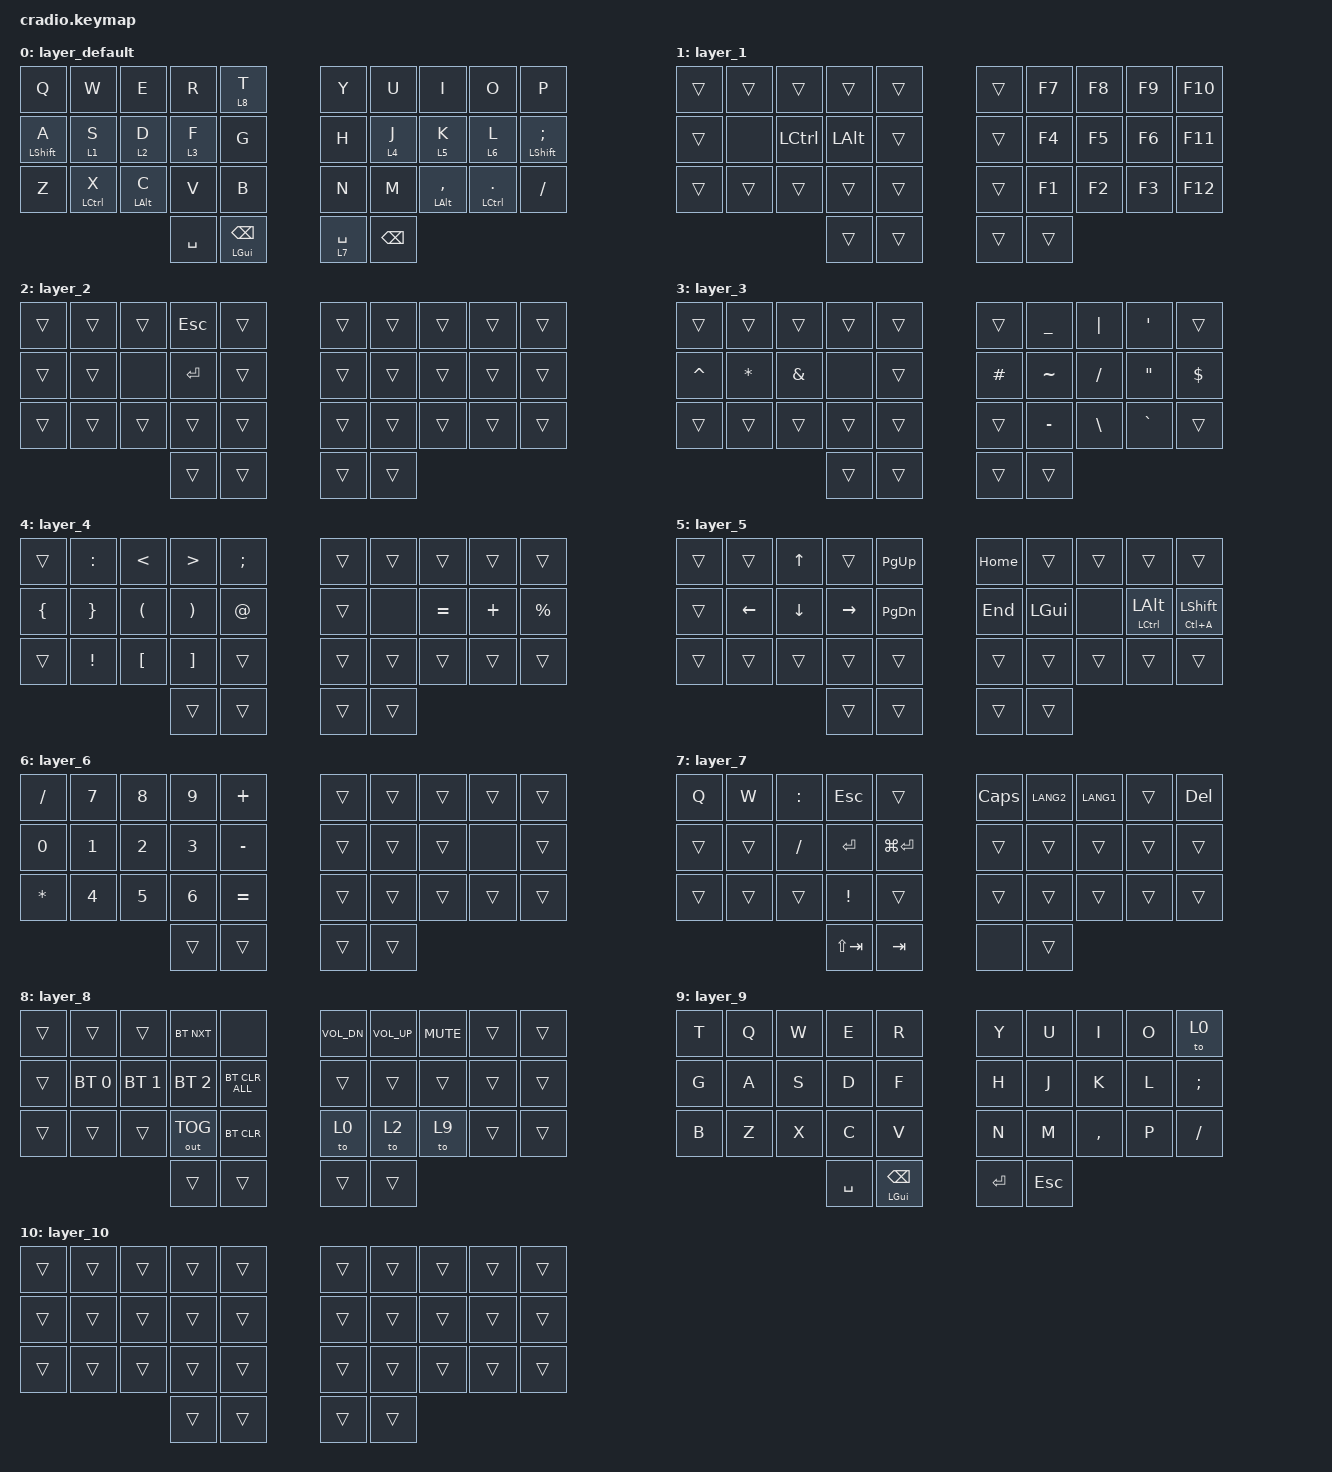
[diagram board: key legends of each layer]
/*
 * Copyright (c) 2020 The ZMK Contributors
 *
 * SPDX-License-Identifier: MIT
 */

#include <behaviors.dtsi>
#include <dt-bindings/zmk/bt.h>
#include <dt-bindings/zmk/keys.h>
#include <dt-bindings/zmk/outputs.h>

&mt { tapping-term-ms = <200>; };

/ {
    keymap {
        compatible = "zmk,keymap";

        layer_default {
            bindings = <
&kp Q        &kp W        &kp E       &kp R      &lt 8 T          &kp Y        &kp U     &kp I           &kp O          &kp P
&mt LSHFT A  &lt 1 S      &lt 2 D     &lt 3 F    &kp G            &kp H        &lt 4 J   &lt 5 K         &lt 6 L        &mt LSHFT SEMI
&kp Z        &mt LCTRL X  &mt LALT C  &kp V      &kp B            &kp N        &kp M     &mt LALT COMMA  &mt LCTRL DOT  &kp SLASH
                                      &kp SPACE  &mt LGUI BSPC    &lt 7 SPACE  &kp BSPC
            >;
        };

        layer_1 {
            bindings = <
&trans  &trans  &trans     &trans    &trans    &trans  &kp F7  &kp F8  &kp F9  &kp F10
&trans  &none   &kp LCTRL  &kp LALT  &trans    &trans  &kp F4  &kp F5  &kp F6  &kp F11
&trans  &trans  &trans     &trans    &trans    &trans  &kp F1  &kp F2  &kp F3  &kp F12
                           &trans    &trans    &trans  &trans
            >;
        };

        layer_2 {
            bindings = <
&trans  &trans  &trans  &kp ESC    &trans    &trans  &trans  &trans  &trans  &trans
&trans  &trans  &none   &kp ENTER  &trans    &trans  &trans  &trans  &trans  &trans
&trans  &trans  &trans  &trans     &trans    &trans  &trans  &trans  &trans  &trans
                        &trans     &trans    &trans  &trans
            >;
        };

        layer_3 {
            bindings = <
&trans     &trans     &trans    &trans  &trans    &trans    &kp UNDER  &kp PIPE   &kp SQT    &trans
&kp CARET  &kp ASTRK  &kp AMPS  &none   &trans    &kp HASH  &kp TILDE  &kp SLASH  &kp DQT    &kp DLLR
&trans     &trans     &trans    &trans  &trans    &trans    &kp MINUS  &kp BSLH   &kp GRAVE  &trans
                                &trans  &trans    &trans    &trans
            >;
        };

        layer_4 {
            bindings = <
&trans    &kp COLON  &kp LT    &kp GT    &kp SEMI    &trans  &trans  &trans     &trans    &trans
&kp LBRC  &kp RBRC   &kp LPAR  &kp RPAR  &kp AT      &trans  &none   &kp EQUAL  &kp PLUS  &kp PRCNT
&trans    &kp EXCL   &kp LBKT  &kp RBKT  &trans      &trans  &trans  &trans     &trans    &trans
                               &trans    &trans      &trans  &trans
            >;
        };

        layer_5 {
            bindings = <
&trans  &trans    &kp UP    &trans     &kp PG_UP    &kp HOME  &trans    &trans  &trans          &trans
&trans  &kp LEFT  &kp DOWN  &kp RIGHT  &kp PG_DN    &kp END   &kp LGUI  &none   &mt LCTRL LALT  &mt LC(A) LSHFT
&trans  &trans    &trans    &trans     &trans       &trans    &trans    &trans  &trans          &trans
                            &trans     &trans       &trans    &trans
            >;
        };

        layer_6 {
            bindings = <
&kp SLASH     &kp NUMBER_7  &kp NUMBER_8  &kp NUMBER_9  &kp PLUS     &trans  &trans  &trans  &trans  &trans
&kp NUMBER_0  &kp NUMBER_1  &kp NUMBER_2  &kp NUMBER_3  &kp MINUS    &trans  &trans  &trans  &none   &trans
&kp ASTRK     &kp NUMBER_4  &kp NUMBER_5  &kp NUMBER_6  &kp EQUAL    &trans  &trans  &trans  &trans  &trans
                                          &trans        &trans       &trans  &trans
            >;
        };

        layer_7 {
            bindings = <
&kp Q   &kp W   &kp COLON  &kp ESC      &trans           &kp CAPS  &kp LANG2  &kp LANG1  &trans  &kp DEL
&trans  &trans  &kp FSLH   &kp ENTER    &kp LG(ENTER)    &trans    &trans     &trans     &trans  &trans
&trans  &trans  &trans     &kp EXCL     &trans           &trans    &trans     &trans     &trans  &trans
                           &kp LS(TAB)  &kp TAB          &none     &trans
            >;
        };

        layer_8 {
            bindings = <
&trans  &trans        &trans        &bt BT_NXT    &none             &kp C_VOL_DN  &kp C_VOL_UP  &kp C_MUTE  &trans  &trans
&trans  &bt BT_SEL 0  &bt BT_SEL 1  &bt BT_SEL 2  &bt BT_CLR_ALL    &trans        &trans        &trans      &trans  &trans
&trans  &trans        &trans        &out OUT_TOG  &bt BT_CLR        &to 0         &to 2         &to 9       &trans  &trans
                                    &trans        &trans            &trans        &trans
            >;
        };

        layer_9 {
            bindings = <
&kp T  &kp Q  &kp W  &kp E      &kp R            &kp Y      &kp U    &kp I      &kp O  &to 0
&kp G  &kp A  &kp S  &kp D      &kp F            &kp H      &kp J    &kp K      &kp L  &kp SEMI
&kp B  &kp Z  &kp X  &kp C      &kp V            &kp N      &kp M    &kp COMMA  &kp P  &kp SLASH
                     &kp SPACE  &mt LGUI BSPC    &kp ENTER  &kp ESC
            >;
        };

        layer_10 {
            bindings = <
&trans  &trans  &trans  &trans  &trans    &trans  &trans  &trans  &trans  &trans
&trans  &trans  &trans  &trans  &trans    &trans  &trans  &trans  &trans  &trans
&trans  &trans  &trans  &trans  &trans    &trans  &trans  &trans  &trans  &trans
                        &trans  &trans    &trans  &trans
            >;
        };

        //   layer_99 {
        // bindings = <
        // &trans          &trans           &trans          &trans          &trans                  &trans          &trans          &trans          &trans          &trans
        // &trans          &trans           &trans          &trans          &trans                  &trans          &trans          &trans          &trans          &trans
        // &trans          &trans           &trans          &trans          &trans                  &trans          &trans          &trans          &trans          &trans
        //                                                  &trans          &trans                  &trans          &trans
        // >;
        // };
    };
};
